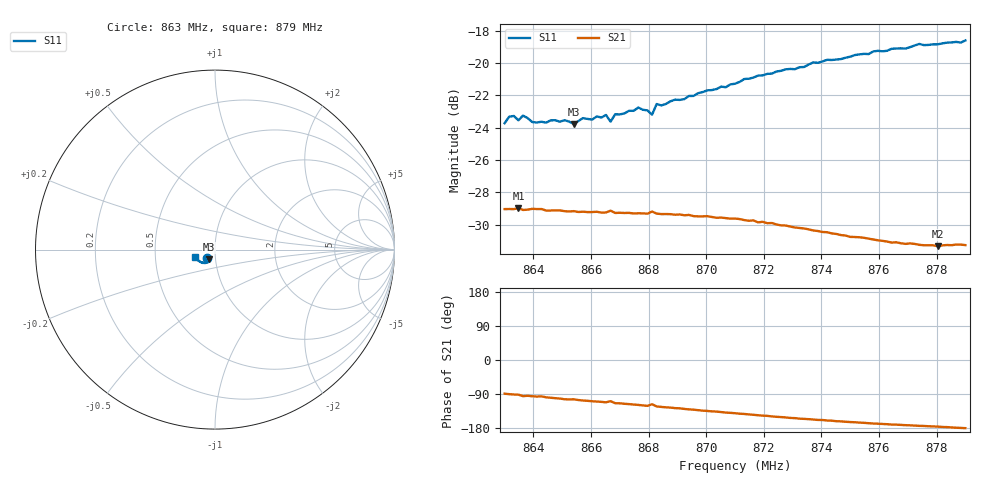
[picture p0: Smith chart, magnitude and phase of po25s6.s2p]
# HZ S RI R 50
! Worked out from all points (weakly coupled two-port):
!   101 points, 863 MHz to 879 MHz, reference 50 ohm
!   highest |S21| = -28.98 dB at 863.48 MHz (marker M1); lowest = -31.3 dB at 878.04 MHz (marker M2)
!   lowest |S11| = -23.8 dB at 865.4 MHz (marker M3), VSWR 1.14, Z = 46.4 - j5.09 ohm
!   |S11| at or under -10 dB: start of sweep to end of sweep
!   S12 and S22 are empty: the file has one direction only
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8.63e8  -0.0447 -0.0474  0.000678 -0.0353  0 0  0 0
8.6316e8  -0.0429 -0.0531  -8.3e-05 -0.0354  0 0  0 0
8.6332e8  -0.0434 -0.0532  -0.000624 -0.0353  0 0  0 0
8.6348e8  -0.0399 -0.0532  -0.00095 -0.0356  0 0  0 0
8.6364e8  -0.0437 -0.0531  -0.00331 -0.035  0 0  0 0
8.6396e8  -0.0407 -0.0516  -0.00348 -0.0352  0 0  0 0
8.6508e8  -0.0371 -0.0552  -0.00824 -0.0338  0 0  0 0
8.654e8  -0.0348 -0.0547  -0.00827 -0.0338  0 0  0 0
8.6572e8  -0.0357 -0.0574  -0.0101 -0.0332  0 0  0 0
8.6604e8  -0.0349 -0.057  -0.0112 -0.0328  0 0  0 0
8.6652e8  -0.0355 -0.0593  -0.0128 -0.0321  0 0  0 0
8.6668e8  -0.0317 -0.0578  -0.0112 -0.0331  0 0  0 0
8.6684e8  -0.0349 -0.06  -0.014 -0.0314  0 0  0 0
8.6764e8  -0.0368 -0.0628  -0.0164 -0.0302  0 0  0 0
8.6812e8  -0.0278 -0.0634  -0.0156 -0.031  0 0  0 0
8.6828e8  -0.0369 -0.0649  -0.0184 -0.0289  0 0  0 0
8.6844e8  -0.0362 -0.0645  -0.019 -0.0283  0 0  0 0
8.71e8  -0.0478 -0.0718  -0.0255 -0.0211  0 0  0 0
8.7372e8  -0.0668 -0.075  -0.028 -0.0118  0 0  0 0
8.7644e8  -0.0913 -0.0625  -0.0275 -0.00463  0 0  0 0
8.7804e8  -0.1025 -0.0503  -0.0271 -0.002  0 0  0 0
8.79e8  -0.1104 -0.0401  -0.0274 -0.000107  0 0  0 0
